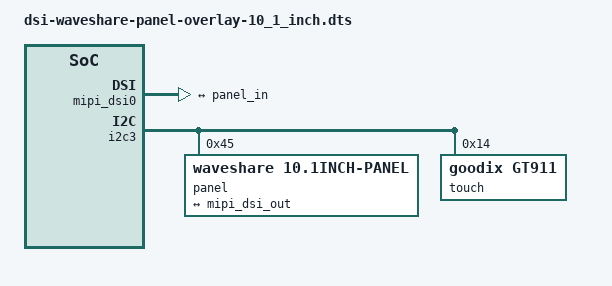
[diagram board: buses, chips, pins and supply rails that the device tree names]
/*
 * Device Tree overlay for Waveshare DSI Touchscreens
 *
 */

/dts-v1/;
/plugin/;

/ {
	fragment@0 {
		target = <&mipi_dsi0>;
		__overlay__ {

			status = "okay";

			ports {
				port@1 {
					reg = <1>;
					mipi_dsi_out: endpoint {
						remote-endpoint = <&panel_in>;
					};
				};
			};
		};
	};

	fragment@1 {
		target = <&i2c3>;
		__overlay__ {

			panel: panel_disp1@45 {
				reg = <0x45>;
				compatible = "waveshare,10.1inch-panel";

				port {
					panel_in: endpoint {
						remote-endpoint = <&mipi_dsi_out>;
					};
				};
			};

			touch: goodix@14 {
				reg = <0x14>;
				compatible = "goodix,gt911";
				touchscreen-size-x = <800>;
				touchscreen-size-y = <1280>;
				touchscreen-inverted-x;
				touchscreen-swapped-x-y;
			};
		};
	};
};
